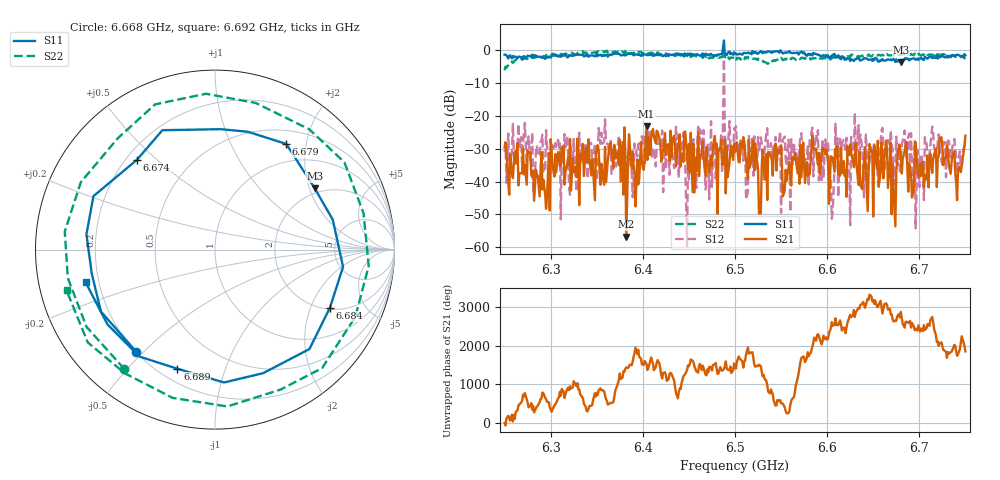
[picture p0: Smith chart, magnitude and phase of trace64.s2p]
# Hz S RI R 50
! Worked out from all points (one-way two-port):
!   401 points, 6.25 GHz to 6.75 GHz, reference 50 ohm
!   highest |S21| = -23.16 dB at 6.404 GHz (marker M1); lowest = -56.8 dB at 6.382 GHz (marker M2)
!   lowest |S11| = -3.7 dB at 6.68 GHz (marker M3), VSWR 4.75, Z = 91.5 + j109 ohm
!   |S11| at or under -10 dB: nowhere
!   |S22| runs from -6.1 to -0.2 dB; largest |S21 - S12| = 0.75
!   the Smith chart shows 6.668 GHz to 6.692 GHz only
!   S11 on the Smith chart (normalised r, x): 6.668 GHz: 0.20, -0.47; 6.674 GHz: 0.24, +0.43; 6.679 GHz: 0.70, +1.66; 6.684 GHz: 2.07, -2.76; 6.689 GHz: 0.27, -0.70; 6.692 GHz: 0.15, -0.12
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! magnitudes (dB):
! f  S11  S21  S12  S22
! 6.25 GHz  -1.4  -29.6  -30.9  -6.1
! 6.294 GHz  -2.6  -43.8  -37.2  -1.9
! 6.334 GHz  -1.5  -33.2  -29.7  -0.7
! 6.382 GHz  -1.5  -56.8  -35.2  -1.0
! 6.404 GHz  -1.4  -23.2  -32.0  -0.4
! 6.418 GHz  -1.5  -26.8  -28.6  -1.1
! 6.448 GHz  -1.6  -32.8  -59.7  -1.7
! 6.5 GHz  -1.2  -31.0  -24.5  -2.5
! 6.526 GHz  -0.7  -49.6  -31.2  -3.0
! 6.584 GHz  -1.6  -26.0  -23.6  -2.5
! 6.605 GHz  -1.7  -32.5  -51.3  -2.1
! 6.616 GHz  -1.9  -37.4  -28.3  -2.0
! 6.668 GHz  -2.9  -34.1  -29.0  -1.6
! 6.674 GHz  -3.6  -53.6  -33.8  -1.7
! 6.679 GHz  -3.0  -29.1  -37.7  -1.4
! 6.68 GHz  -3.7  -32.7  -34.1  -1.2
! 6.684 GHz  -2.9  -30.9  -24.5  -1.2
! 6.689 GHz  -3.1  -34.4  -25.4  -1.3
! 6.692 GHz  -2.6  -44.9  -35.0  -1.3
! 6.722 GHz  -2.1  -26.8  -30.1  -1.4
! 6.742 GHz  -1.4  -36.3  -34.7  -1.9
! 6.75 GHz  -1.6  -26.1  -27.8  -2.3
